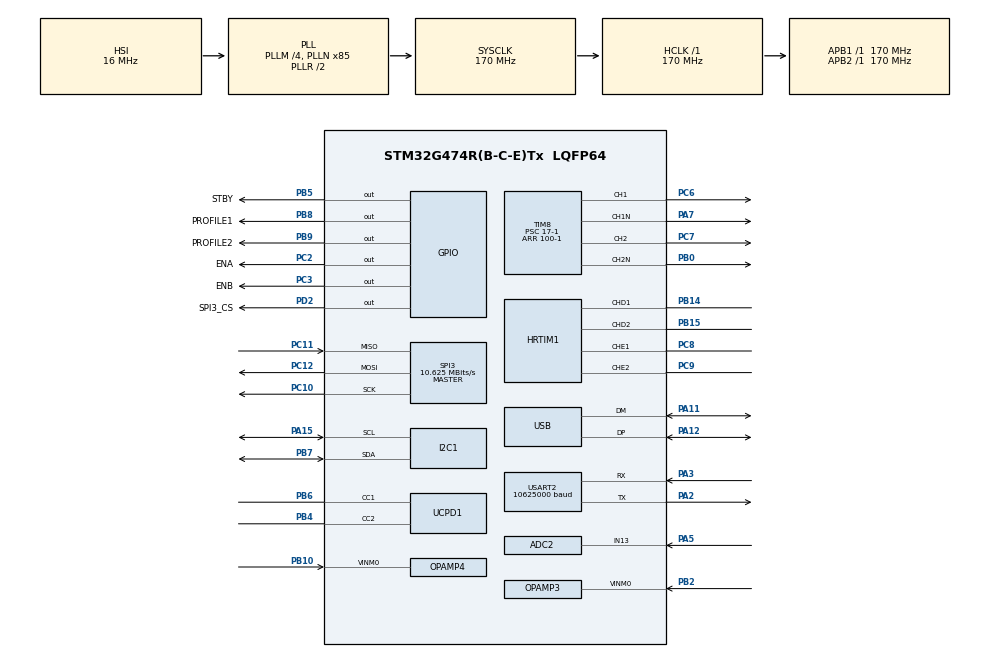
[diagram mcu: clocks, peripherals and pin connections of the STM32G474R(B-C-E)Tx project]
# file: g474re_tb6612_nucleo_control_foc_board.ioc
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ADC2.Channel-4\#ChannelRegularConversion=ADC_CHANNEL_13
ADC2.NbrOfConversionFlag=1
ADC2.OffsetNumber-4\#ChannelRegularConversion=ADC_OFFSET_NONE
ADC2.Rank-4\#ChannelRegularConversion=1
ADC2.SamplingTime-4\#ChannelRegularConversion=ADC_SAMPLETIME_2CYCLES_5
ADC3.Channel-2\#ChannelRegularConversion=ADC_CHANNEL_VOPAMP3_ADC3
ADC3.ExternalTrigConv=ADC_EXTERNALTRIG_T8_TRGO
ADC3.NbrOfConversionFlag=1
ADC3.OffsetNumber-2\#ChannelRegularConversion=ADC_OFFSET_NONE
ADC3.Rank-2\#ChannelRegularConversion=1
ADC3.SamplingTime-2\#ChannelRegularConversion=ADC_SAMPLETIME_2CYCLES_5
ADC3.master=1
ADC5.Channel-1\#ChannelRegularConversion=ADC_CHANNEL_VOPAMP4
ADC5.ContinuousConvMode=DISABLE
ADC5.ExternalTrigConv=ADC_EXTERNALTRIG_T8_TRGO
ADC5.NbrOfConversionFlag=1
ADC5.OffsetNumber-1\#ChannelRegularConversion=ADC_OFFSET_NONE
ADC5.Overrun=ADC_OVR_DATA_OVERWRITTEN
ADC5.Rank-1\#ChannelRegularConversion=1
ADC5.SamplingTime-1\#ChannelRegularConversion=ADC_SAMPLETIME_2CYCLES_5
DAC3.DAC_Channel-DAC_OUT2_Int=DAC_CHANNEL_2
DAC4.DAC_Channel-DAC_OUT2_Int=DAC_CHANNEL_2
Dma.Request0=UCPD1_RX
Dma.Request1=UCPD1_TX
Dma.Request2=SPI3_TX
Dma.Request3=SPI3_RX
Dma.Request4=USART2_TX
Dma.SPI3_RX.3.Direction=DMA_PERIPH_TO_MEMORY
Dma.SPI3_RX.3.EventEnable=DISABLE
Dma.SPI3_RX.3.Instance=DMA2_Channel2
Dma.SPI3_RX.3.MemDataAlignment=DMA_MDATAALIGN_BYTE
Dma.SPI3_RX.3.MemInc=DMA_MINC_ENABLE
Dma.SPI3_RX.3.Mode=DMA_NORMAL
Dma.SPI3_RX.3.PeriphDataAlignment=DMA_PDATAALIGN_BYTE
Dma.SPI3_RX.3.PeriphInc=DMA_PINC_DISABLE
Dma.SPI3_RX.3.Polarity=HAL_DMAMUX_REQ_GEN_RISING
Dma.SPI3_RX.3.Priority=DMA_PRIORITY_MEDIUM
Dma.SPI3_RX.3.RequestNumber=1
Dma.SPI3_RX.3.SignalID=NONE
Dma.SPI3_RX.3.SyncEnable=DISABLE
Dma.SPI3_RX.3.SyncPolarity=HAL_DMAMUX_SYNC_NO_EVENT
Dma.SPI3_RX.3.SyncRequestNumber=1
Dma.SPI3_RX.3.SyncSignalID=NONE
Dma.SPI3_TX.2.Direction=DMA_MEMORY_TO_PERIPH
Dma.SPI3_TX.2.EventEnable=DISABLE
Dma.SPI3_TX.2.Instance=DMA2_Channel1
Dma.SPI3_TX.2.MemDataAlignment=DMA_MDATAALIGN_BYTE
Dma.SPI3_TX.2.MemInc=DMA_MINC_ENABLE
Dma.SPI3_TX.2.Mode=DMA_NORMAL
Dma.SPI3_TX.2.PeriphDataAlignment=DMA_PDATAALIGN_BYTE
Dma.SPI3_TX.2.PeriphInc=DMA_PINC_DISABLE
Dma.SPI3_TX.2.Polarity=HAL_DMAMUX_REQ_GEN_RISING
Dma.SPI3_TX.2.Priority=DMA_PRIORITY_MEDIUM
Dma.SPI3_TX.2.RequestNumber=1
Dma.SPI3_TX.2.SignalID=NONE
Dma.SPI3_TX.2.SyncEnable=DISABLE
Dma.SPI3_TX.2.SyncPolarity=HAL_DMAMUX_SYNC_NO_EVENT
Dma.SPI3_TX.2.SyncRequestNumber=1
Dma.SPI3_TX.2.SyncSignalID=NONE
Dma.UCPD1_RX.0.Direction=DMA_PERIPH_TO_MEMORY
Dma.UCPD1_RX.0.EventEnable=DISABLE
Dma.UCPD1_RX.0.Instance=DMA1_Channel3
Dma.UCPD1_RX.0.MemDataAlignment=DMA_MDATAALIGN_BYTE
Dma.UCPD1_RX.0.MemInc=DMA_MINC_ENABLE
Dma.UCPD1_RX.0.Mode=DMA_NORMAL
Dma.UCPD1_RX.0.PeriphDataAlignment=DMA_PDATAALIGN_BYTE
Dma.UCPD1_RX.0.PeriphInc=DMA_PINC_DISABLE
Dma.UCPD1_RX.0.Polarity=HAL_DMAMUX_REQ_GEN_RISING
Dma.UCPD1_RX.0.Priority=DMA_PRIORITY_LOW
Dma.UCPD1_RX.0.RequestNumber=1
Dma.UCPD1_RX.0.SignalID=NONE
Dma.UCPD1_RX.0.SyncEnable=DISABLE
Dma.UCPD1_RX.0.SyncPolarity=HAL_DMAMUX_SYNC_NO_EVENT
Dma.UCPD1_RX.0.SyncRequestNumber=1
Dma.UCPD1_RX.0.SyncSignalID=NONE
Dma.UCPD1_TX.1.Direction=DMA_MEMORY_TO_PERIPH
Dma.UCPD1_TX.1.EventEnable=DISABLE
Dma.UCPD1_TX.1.Instance=DMA1_Channel2
Dma.UCPD1_TX.1.MemDataAlignment=DMA_MDATAALIGN_BYTE
Dma.UCPD1_TX.1.MemInc=DMA_MINC_ENABLE
Dma.UCPD1_TX.1.Mode=DMA_NORMAL
Dma.UCPD1_TX.1.PeriphDataAlignment=DMA_PDATAALIGN_BYTE
Dma.UCPD1_TX.1.PeriphInc=DMA_PINC_DISABLE
Dma.UCPD1_TX.1.Polarity=HAL_DMAMUX_REQ_GEN_RISING
Dma.UCPD1_TX.1.Priority=DMA_PRIORITY_LOW
Dma.UCPD1_TX.1.RequestNumber=1
Dma.UCPD1_TX.1.SignalID=NONE
Dma.UCPD1_TX.1.SyncEnable=DISABLE
Dma.UCPD1_TX.1.SyncPolarity=HAL_DMAMUX_SYNC_NO_EVENT
Dma.UCPD1_TX.1.SyncRequestNumber=1
Dma.UCPD1_TX.1.SyncSignalID=NONE
Dma.USART2_TX.4.Direction=DMA_MEMORY_TO_PERIPH
Dma.USART2_TX.4.EventEnable=DISABLE
Dma.USART2_TX.4.Instance=DMA1_Channel1
Dma.USART2_TX.4.MemDataAlignment=DMA_MDATAALIGN_BYTE
Dma.USART2_TX.4.MemInc=DMA_MINC_ENABLE
Dma.USART2_TX.4.Mode=DMA_NORMAL
Dma.USART2_TX.4.PeriphDataAlignment=DMA_PDATAALIGN_BYTE
Dma.USART2_TX.4.PeriphInc=DMA_PINC_DISABLE
Dma.USART2_TX.4.Polarity=HAL_DMAMUX_REQ_GEN_RISING
Dma.USART2_TX.4.Priority=DMA_PRIORITY_LOW
Dma.USART2_TX.4.RequestNumber=1
Dma.USART2_TX.4.SignalID=NONE
Dma.USART2_TX.4.SyncEnable=DISABLE
Dma.USART2_TX.4.SyncPolarity=HAL_DMAMUX_SYNC_NO_EVENT
Dma.USART2_TX.4.SyncRequestNumber=1
Dma.USART2_TX.4.SyncSignalID=NONE
FREERTOS.Tasks01=hardwareInitTas,40,256,doHardwareInitTask,Default,NULL,Static,hardwareInitTasBuffer,hardwareInitTasControlBlock;samplingTask,24,128,startDoSamplingTask,Default,NULL,Static,samplingTaskBuffer,samplingTaskControlBlock
FREERTOS.configENABLE_FPU=1
FREERTOS.configGENERATE_RUN_TIME_STATS=1
FREERTOS.configLIBRARY_MAX_SYSCALL_INTERRUPT_PRIORITY=3
FREERTOS.configRECORD_STACK_HIGH_ADDRESS=1
FREERTOS.configTOTAL_HEAP_SIZE=8192
FREERTOS.configUSE_TICKLESS_IDLE=0
I2C1.Timing=0x40B285C2
Mcu.Family=STM32G4
Mcu.Name=STM32G474R(B-C-E)Tx
Mcu.Package=LQFP64
NUCLEO-G474RE.BUTTON=1
NUCLEO-G474RE.LD2=false
NUCLEO-G474RE.VCP=false
NVIC.ADC5_IRQn=true\:1\:0\:true\:false\:true\:false\:true\:true\:true
NVIC.DMA1_Channel1_IRQn=true\:3\:0\:false\:false\:true\:true\:false\:true\:true
NVIC.DMA1_Channel2_IRQn=true\:3\:0\:false\:false\:true\:true\:false\:true\:true
NVIC.DMA1_Channel3_IRQn=true\:3\:0\:false\:false\:true\:false\:false\:true\:true
NVIC.DMA2_Channel1_IRQn=true\:0\:0\:false\:false\:true\:false\:false\:true\:true
NVIC.DMA2_Channel2_IRQn=true\:0\:0\:false\:false\:true\:false\:false\:true\:true
NVIC.EXTI15_10_IRQn=true\:3\:0\:false\:false\:true\:true\:false\:true\:true
NVIC.PriorityGroup=NVIC_PRIORITYGROUP_4
NVIC.TIM7_DAC_IRQn=true\:3\:0\:false\:false\:true\:false\:true\:true\:true
NVIC.TimeBase=TIM7_DAC_IRQn
NVIC.TimeBaseIP=TIM7
NVIC.UCPD1_IRQn=true\:3\:0\:false\:false\:true\:true\:true\:false\:true
NVIC.USART2_IRQn=true\:3\:0\:false\:false\:true\:true\:true\:true\:true
OPAMP3.PgaGain=OPAMP_PGA_GAIN_8_OR_MINUS_7
OPAMP4.PgaGain=OPAMP_PGA_GAIN_8_OR_MINUS_7
PA10.Signal=UCPD1_DBCC2
PA11.Mode=Device
PA11.Signal=USB_DM
PA12.Mode=Device
PA12.Signal=USB_DP
PA13.GPIO_Label=T_SWDIO
PA13.Mode=Trace_Asynchronous_SW
PA13.Signal=SYS_JTMS-SWDIO
PA14.GPIO_Label=T_SWCLK
PA14.Mode=Trace_Asynchronous_SW
PA14.Signal=SYS_JTCK-SWCLK
PA15.Mode=I2C
PA15.Signal=I2C1_SCL
PA2.Mode=Asynchronous
PA2.Signal=USART2_TX
PA3.Mode=Asynchronous
PA3.Signal=USART2_RX
PA5.Mode=IN13-Single-Ended
PA5.Signal=ADC2_IN13
PA7.Mode=PWM Generation1 CH1 CH1N
PA7.Signal=TIM8_CH1N
PA9.Signal=UCPD1_DBCC1
PB0.Mode=PWM Generation2 CH2 CH2N
PB0.Signal=TIM8_CH2N
PB10.Mode=PGA_Connected-INVERTINGINPUT_IO0_BIAS-DAC_OUT1-INP_Output_internal
PB10.Signal=OPAMP4_VINM0
PB14.Mode=Output_TD1TD2
PB14.Signal=HRTIM1_CHD1
PB15.Mode=Output_TD1TD2
PB15.Signal=HRTIM1_CHD2
PB2.Mode=PGA_Connected-INVERTINGINPUT_IO0_BIAS-DAC_OUT2-INP_Output_internal
PB2.Signal=OPAMP3_VINM0
PB3.GPIO_Label=T_SWO
PB3.Mode=Trace_Asynchronous_SW
PB3.Signal=SYS_JTDO-SWO
PB4.Mode=Sink_AllSignals
PB4.Signal=UCPD1_CC2
PB5.GPIO_Label=STBY
PB5.Signal=GPIO_Output
PB6.Mode=Sink_AllSignals
PB6.Signal=UCPD1_CC1
PB7.Mode=I2C
PB7.Signal=I2C1_SDA
PB8-BOOT0.GPIO_Label=PROFILE1
PB8-BOOT0.Signal=GPIO_Output
PB9.GPIO_Label=PROFILE2
PB9.GPIO_PuPd=GPIO_PULLDOWN
PB9.Signal=GPIO_Output
PC1.Signal=COMP3_INP
PC10.Mode=Full_Duplex_Master
PC10.Signal=SPI3_SCK
PC11.Mode=Full_Duplex_Master
PC11.Signal=SPI3_MISO
PC12.Mode=Full_Duplex_Master
PC12.Signal=SPI3_MOSI
PC2.GPIO_Label=ENA
PC2.Signal=GPIO_Output
PC3.GPIO_Label=ENB
PC3.Signal=GPIO_Output
PC6.Signal=S_TIM8_CH1
PC7.Signal=S_TIM8_CH2
PC8.Mode=Output_TE1TE2
PC8.Signal=HRTIM1_CHE1
PC9.Mode=Output_TE1TE2
PC9.Signal=HRTIM1_CHE2
PD2.GPIO_Label=SPI3_CS
PD2.Signal=GPIO_Output
PF0-OSC_IN.GPIO_Label=RCC_OSC_IN
PF0-OSC_IN.Mode=HSE-External-Oscillator
PF0-OSC_IN.Signal=RCC_OSC_IN
PF1-OSC_OUT.GPIO_Label=RCC_OSC_OUT
PF1-OSC_OUT.Mode=HSE-External-Oscillator
PF1-OSC_OUT.Signal=RCC_OSC_OUT
ProjectManager.HeapSize=0x1000
ProjectManager.StackSize=0x1000
ProjectManager.TargetToolchain=CMake
RCC.ADC12Freq_Value=170000000
RCC.ADC345Freq_Value=170000000
RCC.AHBFreq_Value=170000000
RCC.APB1Freq_Value=170000000
RCC.APB1TimFreq_Value=170000000
RCC.APB2Freq_Value=170000000
RCC.APB2TimFreq_Value=170000000
RCC.CK48CLockSelection=RCC_USBCLKSOURCE_HSI48
RCC.CortexFreq_Value=170000000
RCC.EXTERNAL_CLOCK_VALUE=12288000
RCC.HCLKFreq_Value=170000000
RCC.HSE_VALUE=24000000
RCC.HSI48_VALUE=48000000
RCC.HSI_VALUE=16000000
RCC.LSE_VALUE=32768
RCC.PLLM=RCC_PLLM_DIV4
RCC.PLLN=85
RCC.PLLQ=RCC_PLLQ_DIV6
RCC.RTCClockSelection=RCC_RTCCLKSOURCE_LSE
RCC.SYSCLKFreq_VALUE=170000000
RCC.SYSCLKSource=RCC_SYSCLKSOURCE_PLLCLK
RCC.USBFreq_Value=48000000
RCC.VCOOutputFreq_Value=340000000
SH.S_TIM8_CH1.0=TIM8_CH1,PWM Generation1 CH1 CH1N
SH.S_TIM8_CH2.0=TIM8_CH2,PWM Generation2 CH2 CH2N
SPI3.BaudRatePrescaler=SPI_BAUDRATEPRESCALER_16
SPI3.CLKPhase=SPI_PHASE_2EDGE
SPI3.CLKPolarity=SPI_POLARITY_HIGH
SPI3.CalculateBaudRate=10.625 MBits/s
SPI3.DataSize=SPI_DATASIZE_8BIT
SPI3.Direction=SPI_DIRECTION_2LINES
SPI3.Mode=SPI_MODE_MASTER
SPI3.VirtualType=VM_MASTER
TIM8.AutoReloadPreload=TIM_AUTORELOAD_PRELOAD_ENABLE
TIM8.Channel-Output\ Compare3\ No\ Output=TIM_CHANNEL_3
TIM8.Channel-Output\ Compare4\ No\ Output=TIM_CHANNEL_4
TIM8.Channel-PWM\ Generation1\ CH1\ CH1N=TIM_CHANNEL_1
TIM8.Channel-PWM\ Generation2\ CH2\ CH2N=TIM_CHANNEL_2
TIM8.CounterMode=TIM_COUNTERMODE_CENTERALIGNED1
TIM8.DeadTime=10
TIM8.OCMode_3=TIM_OCMODE_PULSE_ON_COMPARE
TIM8.OCMode_4=TIM_OCMODE_PULSE_ON_COMPARE
TIM8.PeriodNoDither=100-1
TIM8.Prescaler=17-1
TIM8.PulseNoDither_1=50
TIM8.PulseNoDither_2=50
TIM8.PulseNoDither_3=0
TIM8.PulseNoDither_4=100-1
TIM8.PulseWidth=10
TIM8.TIM_MasterOutputTrigger=TIM_TRGO_OC3REF
TIM8.TIM_MasterOutputTrigger2=TIM_TRGO2_OC4REF
USART2.BaudRate=10625000
USART2.VirtualMode-Asynchronous=VM_ASYNC
USBPD.Is_Alert_Supported_P0=USBPD_TRUE
USBPD.Is_GetPPSStatus_Supported_P0=USBPD_TRUE
USBPD.Is_GetStatus_Supported_P0=USBPD_TRUE
USBPD.PE_CapscounterSupport_P0=USBPD_TRUE
USBPD.USBPD_PORT0_PDO_SNK_FIXED_SET_OP_CURRENT_0=3000
USBPD.USBPD_PORT0_PDO_SNK_FIXED_SET_VOLTAGE_0=9000
VP_ADC3_OPAMP_INTERNAL3.Mode=IN-OPAMP3
VP_ADC5_OPAMP_INTERNAL4.Mode=IN-OPAMP4
VP_CORDIC_VS_CORDIC.Mode=CORDIC_Activate
VP_DAC3_VS_DACI1.Mode=DAC_OUT1_Int
VP_DAC3_VS_DACI2.Mode=DAC_OUT2_Int
VP_DAC4_VS_DACI1.Mode=DAC_OUT1_Int
VP_DAC4_VS_DACI2.Mode=DAC_OUT2_Int
VP_FREERTOS_VS_CMSIS_V2.Mode=CMSIS_V2
VP_NUCLEO-G474RE_VS_BSP_COMMON.Mode=COMMON
VP_SYS_VS_DBSignals.Mode=DisableDeadBatterySignals
VP_SYS_VS_tim7.Mode=TIM7
VP_TIM6_VS_ClockSourceINT.Mode=Enable_Timer
VP_TIM8_VS_ClockSourceINT.Mode=Internal
VP_TIM8_VS_no_output3.Mode=Output Compare3 No Output
VP_TIM8_VS_no_output4.Mode=Output Compare4 No Output
VP_USBPD_VS_PD3FULL.Mode=PD3_Full_Stack
VP_USBPD_VS_USBPD1.Mode=USBPD_P0
VP_USBPD_VS_usbpd_tim5.Mode=TIM5
board=NUCLEO-G474RE

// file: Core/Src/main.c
/* USER CODE BEGIN Header */
/**
 ******************************************************************************
 * @file           : main.c
 * @brief          : Main program body
 ******************************************************************************
 * @attention
 *
 * Copyright (c) 2026 STMicroelectronics.
 * All rights reserved.
 *
 * This software is licensed under terms that can be found in the LICENSE file
 * in the root directory of this software component.
 * If no LICENSE file comes with this software, it is provided AS-IS.
 *
 ******************************************************************************
 */
/* USER CODE END Header */
#include "main.h"
#include "cmsis_os.h"
#include "usbpd.h"

/* USER CODE BEGIN Includes */
#include "string.h"
#include "stdio.h"
#include "lib_usbpd.h"
#include "tasks.h"
/* USER CODE END Includes */

typedef StaticTask_t osStaticThreadDef_t;

ADC_HandleTypeDef hadc2;
ADC_HandleTypeDef hadc3;
ADC_HandleTypeDef hadc5;

CORDIC_HandleTypeDef hcordic;

DAC_HandleTypeDef hdac3;
DAC_HandleTypeDef hdac4;

HRTIM_HandleTypeDef hhrtim1;

I2C_HandleTypeDef hi2c1;

OPAMP_HandleTypeDef hopamp3;
OPAMP_HandleTypeDef hopamp4;

SPI_HandleTypeDef hspi3;
DMA_HandleTypeDef hdma_spi3_tx;
DMA_HandleTypeDef hdma_spi3_rx;

TIM_HandleTypeDef htim6;
TIM_HandleTypeDef htim8;

UART_HandleTypeDef huart2;
DMA_HandleTypeDef hdma_usart2_tx;

PCD_HandleTypeDef hpcd_USB_FS;

/* Definitions for hardwareInitTas */
osThreadId_t hardwareInitTasHandle;
uint32_t hardwareInitTasBuffer[256];
osStaticThreadDef_t hardwareInitTasControlBlock;
const osThreadAttr_t hardwareInitTas_attributes = {
    .name = "hardwareInitTas",
    .stack_mem = &hardwareInitTasBuffer[0],
    .stack_size = sizeof(hardwareInitTasBuffer),
    .cb_mem = &hardwareInitTasControlBlock,
    .cb_size = sizeof(hardwareInitTasControlBlock),
    .priority = (osPriority_t)osPriorityHigh,
};
/* Definitions for samplingTask */
osThreadId_t samplingTaskHandle;
uint32_t samplingTaskBuffer[128];
osStaticThreadDef_t samplingTaskControlBlock;
const osThreadAttr_t samplingTask_attributes = {
    .name = "samplingTask",
    .stack_mem = &samplingTaskBuffer[0],
    .stack_size = sizeof(samplingTaskBuffer),
    .cb_mem = &samplingTaskControlBlock,
    .cb_size = sizeof(samplingTaskControlBlock),
    .priority = (osPriority_t)osPriorityNormal,
};

void SystemClock_Config(void);
static void MX_GPIO_Init(void);
static void MX_DMA_Init(void);
static void MX_TIM8_Init(void);
static void MX_DAC3_Init(void);
static void MX_HRTIM1_Init(void);
static void MX_I2C1_Init(void);
static void MX_SPI3_Init(void);
static void MX_UCPD1_Init(void);
static void MX_USB_PCD_Init(void);
static void MX_ADC2_Init(void);
static void MX_USART2_UART_Init(void);
static void MX_TIM6_Init(void);
static void MX_CORDIC_Init(void);
static void MX_ADC5_Init(void);
static void MX_DAC4_Init(void);
static void MX_OPAMP4_Init(void);
static void MX_ADC3_Init(void);
static void MX_OPAMP3_Init(void);
void doHardwareInitTask(void *argument);
void startDoSamplingTask(void *argument);

int main(void)
{

  /* MCU Configuration--------------------------------------------------------*/

  /* Reset of all peripherals, Initializes the Flash interface and the Systick. */
  HAL_Init();

  /* Configure the system clock */
  SystemClock_Config();

  /* Initialize all configured peripherals */
  MX_GPIO_Init();
  MX_DMA_Init();
  MX_TIM8_Init();
  MX_DAC3_Init();
  MX_HRTIM1_Init();
  MX_I2C1_Init();
  MX_SPI3_Init();
  MX_UCPD1_Init();
  MX_USB_PCD_Init();
  MX_ADC2_Init();
  MX_USART2_UART_Init();
  MX_TIM6_Init();
  MX_CORDIC_Init();
  MX_ADC5_Init();
  MX_DAC4_Init();
  MX_OPAMP4_Init();
  MX_ADC3_Init();
  MX_OPAMP3_Init();
  /* USER CODE BEGIN 2 */
  // HAL_PWREx_DisableUCPDDeadBattery();
  /* USER CODE BEGIN 2 */
  uint32_t counter = 0;

  /* Enable stimulus port 1 */
  CoreDebug->DEMCR |= CoreDebug_DEMCR_TRCENA_Msk; // enable trace
  ITM->LAR = 0xC5ACCE55;                          // unlock ITM registers
  ITM->TCR = ITM_TCR_ITMENA_Msk | ITM_TCR_SYNCENA_Msk | (1 << ITM_TCR_TraceBusID_Pos);
  ITM->TER = 0xF;

  // while (1)
  // {
  //   /* Check ITM enabled and port 1 enabled */
  //   if ((ITM->TCR & ITM_TCR_ITMENA_Msk) &&
  //       (ITM->TER & (1UL << 1)))
  //   {
  //     /* Wait until port 1 FIFO is ready (u32 != 0 means ready) */
  //     while (ITM->PORT[1U].u32 == 0UL)
  //     {
  //       __NOP();
  //     }

  //     ITM->PORT[1U].u32 = counter++;
  //   }
  // }
  /* USER CODE END 2 */

  /* Init scheduler */
  osKernelInitialize();
  /* USBPD initialisation ---------------------------------*/
  MX_USBPD_Init();

  /* Create the thread(s) */
  /* creation of hardwareInitTas */
  hardwareInitTasHandle = osThreadNew(doHardwareInitTask, NULL, &hardwareInitTas_attributes);

  /* creation of samplingTask */
  samplingTaskHandle = osThreadNew(startDoSamplingTask, NULL, &samplingTask_attributes);

  /* USER CODE BEGIN RTOS_EVENTS */
  /* add events, ... */

  SINK_Selection_t req = {
      .mode = SINK_MODE_FIXED,
      .voltage_mV = 9000,
      .current_mA = 3000,
  };
  SINK_Init(req);
  // SINK_Init(SINK_MODE_FIXED, 9000, 5000);
  /* USER CODE END RTOS_EVENTS */

  /* Initialize USER push-button, will be used to trigger an interrupt each time it's pressed.*/
  BSP_PB_Init(BUTTON_USER, BUTTON_MODE_EXTI);

  /* Start scheduler */
  osKernelStart();

  /* We should never get here as control is now taken by the scheduler */

  /* Infinite loop */
  while (1)
  {

  }
}

void SystemClock_Config(void)
{
  RCC_OscInitTypeDef RCC_OscInitStruct = {0};
  RCC_ClkInitTypeDef RCC_ClkInitStruct = {0};

  /** Configure the main internal regulator output voltage
   */
  HAL_PWREx_ControlVoltageScaling(PWR_REGULATOR_VOLTAGE_SCALE1_BOOST);

  /** Initializes the RCC Oscillators according to the specified parameters
   * in the RCC_OscInitTypeDef structure.
   */
  RCC_OscInitStruct.OscillatorType = RCC_OSCILLATORTYPE_HSI | RCC_OSCILLATORTYPE_HSI48;
  RCC_OscInitStruct.HSIState = RCC_HSI_ON;
  RCC_OscInitStruct.HSICalibrationValue = RCC_HSICALIBRATION_DEFAULT;
  RCC_OscInitStruct.HSI48State = RCC_HSI48_ON;
  RCC_OscInitStruct.PLL.PLLState = RCC_PLL_ON;
  RCC_OscInitStruct.PLL.PLLSource = RCC_PLLSOURCE_HSI;
  RCC_OscInitStruct.PLL.PLLM = RCC_PLLM_DIV4;
  RCC_OscInitStruct.PLL.PLLN = 85;
  RCC_OscInitStruct.PLL.PLLP = RCC_PLLP_DIV2;
  RCC_OscInitStruct.PLL.PLLQ = RCC_PLLQ_DIV6;
  RCC_OscInitStruct.PLL.PLLR = RCC_PLLR_DIV2;
  if (HAL_RCC_OscConfig(&RCC_OscInitStruct) != HAL_OK)
  {
    Error_Handler();
  }

  /** Initializes the CPU, AHB and APB buses clocks
   */
  RCC_ClkInitStruct.ClockType = RCC_CLOCKTYPE_HCLK | RCC_CLOCKTYPE_SYSCLK | RCC_CLOCKTYPE_PCLK1 | RCC_CLOCKTYPE_PCLK2;
  RCC_ClkInitStruct.SYSCLKSource = RCC_SYSCLKSOURCE_PLLCLK;
  RCC_ClkInitStruct.AHBCLKDivider = RCC_SYSCLK_DIV1;
  RCC_ClkInitStruct.APB1CLKDivider = RCC_HCLK_DIV1;
  RCC_ClkInitStruct.APB2CLKDivider = RCC_HCLK_DIV1;

  if (HAL_RCC_ClockConfig(&RCC_ClkInitStruct, FLASH_LATENCY_4) != HAL_OK)
  {
    Error_Handler();
  }
}

static void MX_ADC2_Init(void)
{

  ADC_ChannelConfTypeDef sConfig = {0};

  /** Common config
   */
  hadc2.Instance = ADC2;
  hadc2.Init.ClockPrescaler = ADC_CLOCK_SYNC_PCLK_DIV4;
  hadc2.Init.Resolution = ADC_RESOLUTION_12B;
  hadc2.Init.DataAlign = ADC_DATAALIGN_RIGHT;
  hadc2.Init.GainCompensation = 0;
  hadc2.Init.ScanConvMode = ADC_SCAN_DISABLE;
  hadc2.Init.EOCSelection = ADC_EOC_SINGLE_CONV;
  hadc2.Init.LowPowerAutoWait = DISABLE;
  hadc2.Init.ContinuousConvMode = DISABLE;
  hadc2.Init.NbrOfConversion = 1;
  hadc2.Init.DiscontinuousConvMode = DISABLE;
  hadc2.Init.ExternalTrigConv = ADC_SOFTWARE_START;
  hadc2.Init.ExternalTrigConvEdge = ADC_EXTERNALTRIGCONVEDGE_NONE;
  hadc2.Init.DMAContinuousRequests = DISABLE;
  hadc2.Init.Overrun = ADC_OVR_DATA_PRESERVED;
  hadc2.Init.OversamplingMode = DISABLE;
  if (HAL_ADC_Init(&hadc2) != HAL_OK)
  {
    Error_Handler();
  }

  /** Configure Regular Channel
   */
  sConfig.Channel = ADC_CHANNEL_13;
  sConfig.Rank = ADC_REGULAR_RANK_1;
  sConfig.SamplingTime = ADC_SAMPLETIME_2CYCLES_5;
  sConfig.SingleDiff = ADC_SINGLE_ENDED;
  sConfig.OffsetNumber = ADC_OFFSET_NONE;
  sConfig.Offset = 0;
  if (HAL_ADC_ConfigChannel(&hadc2, &sConfig) != HAL_OK)
  {
    Error_Handler();
  }
}

static void MX_ADC3_Init(void)
{

  ADC_MultiModeTypeDef multimode = {0};
  ADC_ChannelConfTypeDef sConfig = {0};

  /** Common config
   */
  hadc3.Instance = ADC3;
  hadc3.Init.ClockPrescaler = ADC_CLOCK_SYNC_PCLK_DIV4;
  hadc3.Init.Resolution = ADC_RESOLUTION_12B;
  hadc3.Init.DataAlign = ADC_DATAALIGN_RIGHT;
  hadc3.Init.GainCompensation = 0;
  hadc3.Init.ScanConvMode = ADC_SCAN_DISABLE;
  hadc3.Init.EOCSelection = ADC_EOC_SINGLE_CONV;
  hadc3.Init.LowPowerAutoWait = DISABLE;
  hadc3.Init.ContinuousConvMode = DISABLE;
  hadc3.Init.NbrOfConversion = 1;
  hadc3.Init.DiscontinuousConvMode = DISABLE;
  hadc3.Init.ExternalTrigConv = ADC_EXTERNALTRIG_T8_TRGO;
  hadc3.Init.ExternalTrigConvEdge = ADC_EXTERNALTRIGCONVEDGE_RISING;
  hadc3.Init.DMAContinuousRequests = DISABLE;
  hadc3.Init.Overrun = ADC_OVR_DATA_PRESERVED;
  hadc3.Init.OversamplingMode = DISABLE;
  if (HAL_ADC_Init(&hadc3) != HAL_OK)
  {
    Error_Handler();
  }

  /** Configure the ADC multi-mode
   */
  multimode.Mode = ADC_MODE_INDEPENDENT;
  if (HAL_ADCEx_MultiModeConfigChannel(&hadc3, &multimode) != HAL_OK)
  {
    Error_Handler();
  }

  /** Configure Regular Channel
   */
  sConfig.Channel = ADC_CHANNEL_VOPAMP3_ADC3;
  sConfig.Rank = ADC_REGULAR_RANK_1;
  sConfig.SamplingTime = ADC_SAMPLETIME_2CYCLES_5;
  sConfig.SingleDiff = ADC_SINGLE_ENDED;
  sConfig.OffsetNumber = ADC_OFFSET_NONE;
  sConfig.Offset = 0;
  if (HAL_ADC_ConfigChannel(&hadc3, &sConfig) != HAL_OK)
  {
    Error_Handler();
  }
}

static void MX_ADC5_Init(void)
{

  ADC_ChannelConfTypeDef sConfig = {0};

  /** Common config
   */
  hadc5.Instance = ADC5;
  hadc5.Init.ClockPrescaler = ADC_CLOCK_SYNC_PCLK_DIV4;
  hadc5.Init.Resolution = ADC_RESOLUTION_12B;
  hadc5.Init.DataAlign = ADC_DATAALIGN_RIGHT;
  hadc5.Init.GainCompensation = 0;
  hadc5.Init.ScanConvMode = ADC_SCAN_DISABLE;
  hadc5.Init.EOCSelection = ADC_EOC_SINGLE_CONV;
  hadc5.Init.LowPowerAutoWait = DISABLE;
  hadc5.Init.ContinuousConvMode = DISABLE;
  hadc5.Init.NbrOfConversion = 1;
  hadc5.Init.DiscontinuousConvMode = DISABLE;
  hadc5.Init.ExternalTrigConv = ADC_EXTERNALTRIG_T8_TRGO;
  hadc5.Init.ExternalTrigConvEdge = ADC_EXTERNALTRIGCONVEDGE_RISING;
  hadc5.Init.DMAContinuousRequests = DISABLE;
  hadc5.Init.Overrun = ADC_OVR_DATA_OVERWRITTEN;
  hadc5.Init.OversamplingMode = DISABLE;
  if (HAL_ADC_Init(&hadc5) != HAL_OK)
  {
    Error_Handler();
  }

  /** Configure Regular Channel
   */
  sConfig.Channel = ADC_CHANNEL_VOPAMP4;
  sConfig.Rank = ADC_REGULAR_RANK_1;
  sConfig.SamplingTime = ADC_SAMPLETIME_2CYCLES_5;
  sConfig.SingleDiff = ADC_SINGLE_ENDED;
  sConfig.OffsetNumber = ADC_OFFSET_NONE;
  sConfig.Offset = 0;
  if (HAL_ADC_ConfigChannel(&hadc5, &sConfig) != HAL_OK)
  {
    Error_Handler();
  }
}

static void MX_CORDIC_Init(void)
{

  hcordic.Instance = CORDIC;
  if (HAL_CORDIC_Init(&hcordic) != HAL_OK)
  {
    Error_Handler();
  }
}

static void MX_DAC3_Init(void)
{

  DAC_ChannelConfTypeDef sConfig = {0};

  /** DAC Initialization
   */
  hdac3.Instance = DAC3;
  if (HAL_DAC_Init(&hdac3) != HAL_OK)
  {
    Error_Handler();
  }

  /** DAC channel OUT1 config
   */
  sConfig.DAC_HighFrequency = DAC_HIGH_FREQUENCY_INTERFACE_MODE_AUTOMATIC;
  sConfig.DAC_DMADoubleDataMode = DISABLE;
  sConfig.DAC_SignedFormat = DISABLE;
  sConfig.DAC_SampleAndHold = DAC_SAMPLEANDHOLD_DISABLE;
  sConfig.DAC_Trigger = DAC_TRIGGER_NONE;
  sConfig.DAC_Trigger2 = DAC_TRIGGER_NONE;
  sConfig.DAC_OutputBuffer = DAC_OUTPUTBUFFER_DISABLE;
  sConfig.DAC_ConnectOnChipPeripheral = DAC_CHIPCONNECT_INTERNAL;
  sConfig.DAC_UserTrimming = DAC_TRIMMING_FACTORY;
  if (HAL_DAC_ConfigChannel(&hdac3, &sConfig, DAC_CHANNEL_1) != HAL_OK)
  {
    Error_Handler();
  }

  /** DAC channel OUT2 config
   */
  if (HAL_DAC_ConfigChannel(&hdac3, &sConfig, DAC_CHANNEL_2) != HAL_OK)
  {
    Error_Handler();
  }
}

static void MX_DAC4_Init(void)
{

  DAC_ChannelConfTypeDef sConfig = {0};

  /** DAC Initialization
   */
  hdac4.Instance = DAC4;
  if (HAL_DAC_Init(&hdac4) != HAL_OK)
  {
    Error_Handler();
  }

  /** DAC channel OUT1 config
   */
  sConfig.DAC_HighFrequency = DAC_HIGH_FREQUENCY_INTERFACE_MODE_AUTOMATIC;
  sConfig.DAC_DMADoubleDataMode = DISABLE;
  sConfig.DAC_SignedFormat = DISABLE;
  sConfig.DAC_SampleAndHold = DAC_SAMPLEANDHOLD_DISABLE;
  sConfig.DAC_Trigger = DAC_TRIGGER_NONE;
  sConfig.DAC_Trigger2 = DAC_TRIGGER_NONE;
  sConfig.DAC_OutputBuffer = DAC_OUTPUTBUFFER_DISABLE;
  sConfig.DAC_ConnectOnChipPeripheral = DAC_CHIPCONNECT_INTERNAL;
  sConfig.DAC_UserTrimming = DAC_TRIMMING_FACTORY;
  if (HAL_DAC_ConfigChannel(&hdac4, &sConfig, DAC_CHANNEL_1) != HAL_OK)
  {
    Error_Handler();
  }

  /** DAC channel OUT2 config
   */
  if (HAL_DAC_ConfigChannel(&hdac4, &sConfig, DAC_CHANNEL_2) != HAL_OK)
  {
    Error_Handler();
  }
}

static void MX_HRTIM1_Init(void)
{

  HRTIM_TimeBaseCfgTypeDef pTimeBaseCfg = {0};
  HRTIM_TimerCtlTypeDef pTimerCtl = {0};
  HRTIM_TimerCfgTypeDef pTimerCfg = {0};
  HRTIM_OutputCfgTypeDef pOutputCfg = {0};

  hhrtim1.Instance = HRTIM1;
  hhrtim1.Init.HRTIMInterruptResquests = HRTIM_IT_NONE;
  hhrtim1.Init.SyncOptions = HRTIM_SYNCOPTION_NONE;
  if (HAL_HRTIM_Init(&hhrtim1) != HAL_OK)
  {
    Error_Handler();
  }
  if (HAL_HRTIM_DLLCalibrationStart(&hhrtim1, HRTIM_CALIBRATIONRATE_3) != HAL_OK)
  {
    Error_Handler();
  }
  if (HAL_HRTIM_PollForDLLCalibration(&hhrtim1, 10) != HAL_OK)
  {
    Error_Handler();
  }
  pTimeBaseCfg.Period = 0xFFDF;
  pTimeBaseCfg.RepetitionCounter = 0x00;
  pTimeBaseCfg.PrescalerRatio = HRTIM_PRESCALERRATIO_MUL32;
  pTimeBaseCfg.Mode = HRTIM_MODE_CONTINUOUS;
  if (HAL_HRTIM_TimeBaseConfig(&hhrtim1, HRTIM_TIMERINDEX_TIMER_D, &pTimeBaseCfg) != HAL_OK)
  {
    Error_Handler();
  }
  pTimerCtl.UpDownMode = HRTIM_TIMERUPDOWNMODE_UP;
  pTimerCtl.DualChannelDacEnable = HRTIM_TIMER_DCDE_DISABLED;
  if (HAL_HRTIM_WaveformTimerControl(&hhrtim1, HRTIM_TIMERINDEX_TIMER_D, &pTimerCtl) != HAL_OK)
  {
    Error_Handler();
  }
  pTimerCfg.InterruptRequests = HRTIM_TIM_IT_NONE;
  pTimerCfg.DMARequests = HRTIM_TIM_DMA_NONE;
  pTimerCfg.DMASrcAddress = 0x0000;
  pTimerCfg.DMADstAddress = 0x0000;
  pTimerCfg.DMASize = 0x1;
  pTimerCfg.HalfModeEnable = HRTIM_HALFMODE_DISABLED;
  pTimerCfg.InterleavedMode = HRTIM_INTERLEAVED_MODE_DISABLED;
  pTimerCfg.StartOnSync = HRTIM_SYNCSTART_DISABLED;
  pTimerCfg.ResetOnSync = HRTIM_SYNCRESET_DISABLED;
  pTimerCfg.DACSynchro = HRTIM_DACSYNC_NONE;
  pTimerCfg.PreloadEnable = HRTIM_PRELOAD_DISABLED;
  pTimerCfg.UpdateGating = HRTIM_UPDATEGATING_INDEPENDENT;
  pTimerCfg.BurstMode = HRTIM_TIMERBURSTMODE_MAINTAINCLOCK;
  pTimerCfg.RepetitionUpdate = HRTIM_UPDATEONREPETITION_DISABLED;
  pTimerCfg.PushPull = HRTIM_TIMPUSHPULLMODE_DISABLED;
  pTimerCfg.FaultEnable = HRTIM_TIMFAULTENABLE_NONE;
  pTimerCfg.FaultLock = HRTIM_TIMFAULTLOCK_READWRITE;
  pTimerCfg.DeadTimeInsertion = HRTIM_TIMDEADTIMEINSERTION_DISABLED;
  pTimerCfg.DelayedProtectionMode = HRTIM_TIMER_D_E_DELAYEDPROTECTION_DISABLED;
  pTimerCfg.UpdateTrigger = HRTIM_TIMUPDATETRIGGER_NONE;
  pTimerCfg.ResetTrigger = HRTIM_TIMRESETTRIGGER_NONE;
  pTimerCfg.ResetUpdate = HRTIM_TIMUPDATEONRESET_DISABLED;
  pTimerCfg.ReSyncUpdate = HRTIM_TIMERESYNC_UPDATE_UNCONDITIONAL;
  if (HAL_HRTIM_WaveformTimerConfig(&hhrtim1, HRTIM_TIMERINDEX_TIMER_D, &pTimerCfg) != HAL_OK)
  {
    Error_Handler();
  }
  if (HAL_HRTIM_WaveformTimerConfig(&hhrtim1, HRTIM_TIMERINDEX_TIMER_E, &pTimerCfg) != HAL_OK)
  {
    Error_Handler();
  }
  pOutputCfg.Polarity = HRTIM_OUTPUTPOLARITY_HIGH;
  pOutputCfg.SetSource = HRTIM_OUTPUTSET_NONE;
  pOutputCfg.ResetSource = HRTIM_OUTPUTRESET_NONE;
  pOutputCfg.IdleMode = HRTIM_OUTPUTIDLEMODE_NONE;
  pOutputCfg.IdleLevel = HRTIM_OUTPUTIDLELEVEL_INACTIVE;
  pOutputCfg.FaultLevel = HRTIM_OUTPUTFAULTLEVEL_NONE;
  pOutputCfg.ChopperModeEnable = HRTIM_OUTPUTCHOPPERMODE_DISABLED;
  pOutputCfg.BurstModeEntryDelayed = HRTIM_OUTPUTBURSTMODEENTRY_REGULAR;
  if (HAL_HRTIM_WaveformOutputConfig(&hhrtim1, HRTIM_TIMERINDEX_TIMER_D, HRTIM_OUTPUT_TD1, &pOutputCfg) != HAL_OK)
  {
    Error_Handler();
  }
  if (HAL_HRTIM_WaveformOutputConfig(&hhrtim1, HRTIM_TIMERINDEX_TIMER_E, HRTIM_OUTPUT_TE1, &pOutputCfg) != HAL_OK)
  {
    Error_Handler();
  }
  if (HAL_HRTIM_WaveformOutputConfig(&hhrtim1, HRTIM_TIMERINDEX_TIMER_D, HRTIM_OUTPUT_TD2, &pOutputCfg) != HAL_OK)
  {
    Error_Handler();
  }
  if (HAL_HRTIM_WaveformOutputConfig(&hhrtim1, HRTIM_TIMERINDEX_TIMER_E, HRTIM_OUTPUT_TE2, &pOutputCfg) != HAL_OK)
  {
    Error_Handler();
  }
  if (HAL_HRTIM_TimeBaseConfig(&hhrtim1, HRTIM_TIMERINDEX_TIMER_E, &pTimeBaseCfg) != HAL_OK)
  {
    Error_Handler();
  }
  if (HAL_HRTIM_WaveformTimerControl(&hhrtim1, HRTIM_TIMERINDEX_TIMER_E, &pTimerCtl) != HAL_OK)
  {
    Error_Handler();
  }
  HAL_HRTIM_MspPostInit(&hhrtim1);
}

static void MX_I2C1_Init(void)
{

  hi2c1.Instance = I2C1;
  hi2c1.Init.Timing = 0x40B285C2;
  hi2c1.Init.OwnAddress1 = 0;
  hi2c1.Init.AddressingMode = I2C_ADDRESSINGMODE_7BIT;
  hi2c1.Init.DualAddressMode = I2C_DUALADDRESS_DISABLE;
  hi2c1.Init.OwnAddress2 = 0;
  hi2c1.Init.OwnAddress2Masks = I2C_OA2_NOMASK;
  hi2c1.Init.GeneralCallMode = I2C_GENERALCALL_DISABLE;
  hi2c1.Init.NoStretchMode = I2C_NOSTRETCH_DISABLE;
  if (HAL_I2C_Init(&hi2c1) != HAL_OK)
  {
    Error_Handler();
  }

  /** Configure Analogue filter
   */
  if (HAL_I2CEx_ConfigAnalogFilter(&hi2c1, I2C_ANALOGFILTER_ENABLE) != HAL_OK)
  {
    Error_Handler();
  }

  /** Configure Digital filter
   */
  if (HAL_I2CEx_ConfigDigitalFilter(&hi2c1, 0) != HAL_OK)
  {
    Error_Handler();
  }
}

static void MX_OPAMP3_Init(void)
{

  hopamp3.Instance = OPAMP3;
  hopamp3.Init.PowerMode = OPAMP_POWERMODE_NORMALSPEED;
  hopamp3.Init.Mode = OPAMP_PGA_MODE;
  hopamp3.Init.NonInvertingInput = OPAMP_NONINVERTINGINPUT_DAC;
  hopamp3.Init.InternalOutput = ENABLE;
  hopamp3.Init.TimerControlledMuxmode = OPAMP_TIMERCONTROLLEDMUXMODE_DISABLE;
  hopamp3.Init.PgaConnect = OPAMP_PGA_CONNECT_INVERTINGINPUT_IO0_BIAS;
  hopamp3.Init.PgaGain = OPAMP_PGA_GAIN_8_OR_MINUS_7;
  hopamp3.Init.UserTrimming = OPAMP_TRIMMING_FACTORY;
  if (HAL_OPAMP_Init(&hopamp3) != HAL_OK)
  {
    Error_Handler();
  }
}

static void MX_OPAMP4_Init(void)
{

  hopamp4.Instance = OPAMP4;
  hopamp4.Init.PowerMode = OPAMP_POWERMODE_NORMALSPEED;
  hopamp4.Init.Mode = OPAMP_PGA_MODE;
  hopamp4.Init.NonInvertingInput = OPAMP_NONINVERTINGINPUT_DAC;
  hopamp4.Init.InternalOutput = ENABLE;
  hopamp4.Init.TimerControlledMuxmode = OPAMP_TIMERCONTROLLEDMUXMODE_DISABLE;
  hopamp4.Init.PgaConnect = OPAMP_PGA_CONNECT_INVERTINGINPUT_IO0_BIAS;
  hopamp4.Init.PgaGain = OPAMP_PGA_GAIN_8_OR_MINUS_7;
  hopamp4.Init.UserTrimming = OPAMP_TRIMMING_FACTORY;
  if (HAL_OPAMP_Init(&hopamp4) != HAL_OK)
  {
    Error_Handler();
  }
}

static void MX_SPI3_Init(void)
{

  /* SPI3 parameter configuration*/
  hspi3.Instance = SPI3;
  hspi3.Init.Mode = SPI_MODE_MASTER;
  hspi3.Init.Direction = SPI_DIRECTION_2LINES;
  hspi3.Init.DataSize = SPI_DATASIZE_8BIT;
  hspi3.Init.CLKPolarity = SPI_POLARITY_HIGH;
  hspi3.Init.CLKPhase = SPI_PHASE_2EDGE;
  hspi3.Init.NSS = SPI_NSS_SOFT;
  hspi3.Init.BaudRatePrescaler = SPI_BAUDRATEPRESCALER_16;
  hspi3.Init.FirstBit = SPI_FIRSTBIT_MSB;
  hspi3.Init.TIMode = SPI_TIMODE_DISABLE;
  hspi3.Init.CRCCalculation = SPI_CRCCALCULATION_DISABLE;
  hspi3.Init.CRCPolynomial = 7;
  hspi3.Init.CRCLength = SPI_CRC_LENGTH_DATASIZE;
  hspi3.Init.NSSPMode = SPI_NSS_PULSE_DISABLE;
  if (HAL_SPI_Init(&hspi3) != HAL_OK)
  {
    Error_Handler();
  }
}

static void MX_TIM6_Init(void)
{

  TIM_MasterConfigTypeDef sMasterConfig = {0};

  htim6.Instance = TIM6;
  htim6.Init.Prescaler = 0;
  htim6.Init.CounterMode = TIM_COUNTERMODE_UP;
  htim6.Init.Period = 65535;
  htim6.Init.AutoReloadPreload = TIM_AUTORELOAD_PRELOAD_DISABLE;
  if (HAL_TIM_Base_Init(&htim6) != HAL_OK)
  {
    Error_Handler();
  }
  sMasterConfig.MasterOutputTrigger = TIM_TRGO_RESET;
  sMasterConfig.MasterSlaveMode = TIM_MASTERSLAVEMODE_DISABLE;
  if (HAL_TIMEx_MasterConfigSynchronization(&htim6, &sMasterConfig) != HAL_OK)
  {
    Error_Handler();
  }
}

static void MX_TIM8_Init(void)
{

  TIM_ClockConfigTypeDef sClockSourceConfig = {0};
  TIM_MasterConfigTypeDef sMasterConfig = {0};
  TIM_OC_InitTypeDef sConfigOC = {0};
  TIM_BreakDeadTimeConfigTypeDef sBreakDeadTimeConfig = {0};

  htim8.Instance = TIM8;
  htim8.Init.Prescaler = 17 - 1;
  htim8.Init.CounterMode = TIM_COUNTERMODE_CENTERALIGNED1;
  htim8.Init.Period = 99;
  htim8.Init.ClockDivision = TIM_CLOCKDIVISION_DIV1;
  htim8.Init.RepetitionCounter = 0;
  htim8.Init.AutoReloadPreload = TIM_AUTORELOAD_PRELOAD_ENABLE;
  if (HAL_TIM_Base_Init(&htim8) != HAL_OK)
  {
    Error_Handler();
  }
  sClockSourceConfig.ClockSource = TIM_CLOCKSOURCE_INTERNAL;
  if (HAL_TIM_ConfigClockSource(&htim8, &sClockSourceConfig) != HAL_OK)
  {
    Error_Handler();
  }
  if (HAL_TIM_PWM_Init(&htim8) != HAL_OK)
  {
    Error_Handler();
  }
  if (HAL_TIM_OC_Init(&htim8) != HAL_OK)
  {
    Error_Handler();
  }
  sMasterConfig.MasterOutputTrigger = TIM_TRGO_OC3REF;
  sMasterConfig.MasterOutputTrigger2 = TIM_TRGO2_OC4REF;
  sMasterConfig.MasterSlaveMode = TIM_MASTERSLAVEMODE_DISABLE;
  if (HAL_TIMEx_MasterConfigSynchronization(&htim8, &sMasterConfig) != HAL_OK)
  {
    Error_Handler();
  }
  sConfigOC.OCMode = TIM_OCMODE_PWM1;
  sConfigOC.Pulse = 50;
  sConfigOC.OCPolarity = TIM_OCPOLARITY_HIGH;
  sConfigOC.OCNPolarity = TIM_OCNPOLARITY_HIGH;
  sConfigOC.OCFastMode = TIM_OCFAST_DISABLE;
  sConfigOC.OCIdleState = TIM_OCIDLESTATE_RESET;
  sConfigOC.OCNIdleState = TIM_OCNIDLESTATE_RESET;
  if (HAL_TIM_PWM_ConfigChannel(&htim8, &sConfigOC, TIM_CHANNEL_1) != HAL_OK)
  {
    Error_Handler();
  }
  if (HAL_TIM_PWM_ConfigChannel(&htim8, &sConfigOC, TIM_CHANNEL_2) != HAL_OK)
  {
    Error_Handler();
  }
  sConfigOC.OCMode = TIM_OCMODE_PULSE_ON_COMPARE;
  sConfigOC.Pulse = 0;
  if (HAL_TIM_OC_ConfigChannel(&htim8, &sConfigOC, TIM_CHANNEL_3) != HAL_OK)
  {
    Error_Handler();
  }
  HAL_TIMEx_OC_ConfigPulseOnCompare(&htim8, 0, 10);
  sConfigOC.Pulse = 99;
  if (HAL_TIM_OC_ConfigChannel(&htim8, &sConfigOC, TIM_CHANNEL_4) != HAL_OK)
  {
    Error_Handler();
  }
  sBreakDeadTimeConfig.OffStateRunMode = TIM_OSSR_DISABLE;
  sBreakDeadTimeConfig.OffStateIDLEMode = TIM_OSSI_DISABLE;
  sBreakDeadTimeConfig.LockLevel = TIM_LOCKLEVEL_OFF;
  sBreakDeadTimeConfig.DeadTime = 10;
  sBreakDeadTimeConfig.BreakState = TIM_BREAK_DISABLE;
  sBreakDeadTimeConfig.BreakPolarity = TIM_BREAKPOLARITY_HIGH;
  sBreakDeadTimeConfig.BreakFilter = 0;
  sBreakDeadTimeConfig.BreakAFMode = TIM_BREAK_AFMODE_INPUT;
  sBreakDeadTimeConfig.Break2State = TIM_BREAK2_DISABLE;
  sBreakDeadTimeConfig.Break2Polarity = TIM_BREAK2POLARITY_HIGH;
  sBreakDeadTimeConfig.Break2Filter = 0;
  sBreakDeadTimeConfig.Break2AFMode = TIM_BREAK_AFMODE_INPUT;
  sBreakDeadTimeConfig.AutomaticOutput = TIM_AUTOMATICOUTPUT_DISABLE;
  if (HAL_TIMEx_ConfigBreakDeadTime(&htim8, &sBreakDeadTimeConfig) != HAL_OK)
  {
    Error_Handler();
  }
  HAL_TIM_MspPostInit(&htim8);
}

static void MX_UCPD1_Init(void)
{

  LL_GPIO_InitTypeDef GPIO_InitStruct = {0};

  /* Peripheral clock enable */
  LL_APB1_GRP2_EnableClock(LL_APB1_GRP2_PERIPH_UCPD1);

  LL_AHB2_GRP1_EnableClock(LL_AHB2_GRP1_PERIPH_GPIOB);
  /**UCPD1 GPIO Configuration
  PB4   ------> UCPD1_CC2
  PB6   ------> UCPD1_CC1
  */
  GPIO_InitStruct.Pin = LL_GPIO_PIN_4;
  GPIO_InitStruct.Mode = LL_GPIO_MODE_ANALOG;
  GPIO_InitStruct.Pull = LL_GPIO_PULL_NO;
  LL_GPIO_Init(GPIOB, &GPIO_InitStruct);

  GPIO_InitStruct.Pin = LL_GPIO_PIN_6;
  GPIO_InitStruct.Mode = LL_GPIO_MODE_ANALOG;
  GPIO_InitStruct.Pull = LL_GPIO_PULL_NO;
  LL_GPIO_Init(GPIOB, &GPIO_InitStruct);

  /* UCPD1 DMA Init */

  /* UCPD1_RX Init */
  LL_DMA_SetPeriphRequest(DMA1, LL_DMA_CHANNEL_3, LL_DMAMUX_REQ_UCPD1_RX);

  LL_DMA_SetDataTransferDirection(DMA1, LL_DMA_CHANNEL_3, LL_DMA_DIRECTION_PERIPH_TO_MEMORY);

  LL_DMA_SetChannelPriorityLevel(DMA1, LL_DMA_CHANNEL_3, LL_DMA_PRIORITY_LOW);

  LL_DMA_SetMode(DMA1, LL_DMA_CHANNEL_3, LL_DMA_MODE_NORMAL);

  LL_DMA_SetPeriphIncMode(DMA1, LL_DMA_CHANNEL_3, LL_DMA_PERIPH_NOINCREMENT);

  LL_DMA_SetMemoryIncMode(DMA1, LL_DMA_CHANNEL_3, LL_DMA_MEMORY_INCREMENT);

  LL_DMA_SetPeriphSize(DMA1, LL_DMA_CHANNEL_3, LL_DMA_PDATAALIGN_BYTE);

  LL_DMA_SetMemorySize(DMA1, LL_DMA_CHANNEL_3, LL_DMA_MDATAALIGN_BYTE);

  /* UCPD1_TX Init */
  LL_DMA_SetPeriphRequest(DMA1, LL_DMA_CHANNEL_2, LL_DMAMUX_REQ_UCPD1_TX);

  LL_DMA_SetDataTransferDirection(DMA1, LL_DMA_CHANNEL_2, LL_DMA_DIRECTION_MEMORY_TO_PERIPH);

  LL_DMA_SetChannelPriorityLevel(DMA1, LL_DMA_CHANNEL_2, LL_DMA_PRIORITY_LOW);

  LL_DMA_SetMode(DMA1, LL_DMA_CHANNEL_2, LL_DMA_MODE_NORMAL);

  LL_DMA_SetPeriphIncMode(DMA1, LL_DMA_CHANNEL_2, LL_DMA_PERIPH_NOINCREMENT);

  LL_DMA_SetMemoryIncMode(DMA1, LL_DMA_CHANNEL_2, LL_DMA_MEMORY_INCREMENT);

  LL_DMA_SetPeriphSize(DMA1, LL_DMA_CHANNEL_2, LL_DMA_PDATAALIGN_BYTE);

  LL_DMA_SetMemorySize(DMA1, LL_DMA_CHANNEL_2, LL_DMA_MDATAALIGN_BYTE);

  /* UCPD1 interrupt Init */
  NVIC_SetPriority(UCPD1_IRQn, NVIC_EncodePriority(NVIC_GetPriorityGrouping(), 3, 0));
  NVIC_EnableIRQ(UCPD1_IRQn);

}

static void MX_USART2_UART_Init(void)
{

  huart2.Instance = USART2;
  huart2.Init.BaudRate = 10625000;
  huart2.Init.WordLength = UART_WORDLENGTH_8B;
  huart2.Init.StopBits = UART_STOPBITS_1;
  huart2.Init.Parity = UART_PARITY_NONE;
  huart2.Init.Mode = UART_MODE_TX_RX;
  huart2.Init.HwFlowCtl = UART_HWCONTROL_NONE;
  huart2.Init.OverSampling = UART_OVERSAMPLING_16;
  huart2.Init.OneBitSampling = UART_ONE_BIT_SAMPLE_DISABLE;
  huart2.Init.ClockPrescaler = UART_PRESCALER_DIV1;
  huart2.AdvancedInit.AdvFeatureInit = UART_ADVFEATURE_NO_INIT;
  if (HAL_UART_Init(&huart2) != HAL_OK)
  {
    Error_Handler();
  }
  if (HAL_UARTEx_SetTxFifoThreshold(&huart2, UART_TXFIFO_THRESHOLD_1_8) != HAL_OK)
  {
    Error_Handler();
  }
  if (HAL_UARTEx_SetRxFifoThreshold(&huart2, UART_RXFIFO_THRESHOLD_1_8) != HAL_OK)
  {
    Error_Handler();
  }
  if (HAL_UARTEx_DisableFifoMode(&huart2) != HAL_OK)
  {
    Error_Handler();
  }
}

static void MX_USB_PCD_Init(void)
{

  hpcd_USB_FS.Instance = USB;
  hpcd_USB_FS.Init.dev_endpoints = 8;
  hpcd_USB_FS.Init.speed = PCD_SPEED_FULL;
  hpcd_USB_FS.Init.phy_itface = PCD_PHY_EMBEDDED;
  hpcd_USB_FS.Init.Sof_enable = DISABLE;
  hpcd_USB_FS.Init.low_power_enable = DISABLE;
  hpcd_USB_FS.Init.lpm_enable = DISABLE;
  hpcd_USB_FS.Init.battery_charging_enable = DISABLE;
  if (HAL_PCD_Init(&hpcd_USB_FS) != HAL_OK)
  {
    Error_Handler();
  }
}

static void MX_DMA_Init(void)
{

  /* DMA controller clock enable */
  __HAL_RCC_DMAMUX1_CLK_ENABLE();
  __HAL_RCC_DMA1_CLK_ENABLE();
  __HAL_RCC_DMA2_CLK_ENABLE();

  /* DMA interrupt init */
  /* DMA1_Channel1_IRQn interrupt configuration */
  HAL_NVIC_SetPriority(DMA1_Channel1_IRQn, 3, 0);
  HAL_NVIC_EnableIRQ(DMA1_Channel1_IRQn);
  /* DMA1_Channel2_IRQn interrupt configuration */
  NVIC_SetPriority(DMA1_Channel2_IRQn, NVIC_EncodePriority(NVIC_GetPriorityGrouping(), 3, 0));
  NVIC_EnableIRQ(DMA1_Channel2_IRQn);
  /* DMA1_Channel3_IRQn interrupt configuration */
  NVIC_SetPriority(DMA1_Channel3_IRQn, NVIC_EncodePriority(NVIC_GetPriorityGrouping(), 3, 0));
  NVIC_EnableIRQ(DMA1_Channel3_IRQn);
  /* DMA2_Channel1_IRQn interrupt configuration */
  HAL_NVIC_SetPriority(DMA2_Channel1_IRQn, 0, 0);
  HAL_NVIC_EnableIRQ(DMA2_Channel1_IRQn);
  /* DMA2_Channel2_IRQn interrupt configuration */
  HAL_NVIC_SetPriority(DMA2_Channel2_IRQn, 0, 0);
  HAL_NVIC_EnableIRQ(DMA2_Channel2_IRQn);
}

static void MX_GPIO_Init(void)
{
  GPIO_InitTypeDef GPIO_InitStruct = {0};

  /* GPIO Ports Clock Enable */
  __HAL_RCC_GPIOF_CLK_ENABLE();
  __HAL_RCC_GPIOC_CLK_ENABLE();
  __HAL_RCC_GPIOA_CLK_ENABLE();
  __HAL_RCC_GPIOB_CLK_ENABLE();
  __HAL_RCC_GPIOD_CLK_ENABLE();

  /*Configure GPIO pin Output Level */
  HAL_GPIO_WritePin(GPIOC, ENA_Pin | ENB_Pin, GPIO_PIN_RESET);

  /*Configure GPIO pin Output Level */
  HAL_GPIO_WritePin(SPI3_CS_GPIO_Port, SPI3_CS_Pin, GPIO_PIN_RESET);

  /*Configure GPIO pin Output Level */
  HAL_GPIO_WritePin(GPIOB, STBY_Pin | PROFILE1_Pin | PROFILE2_Pin, GPIO_PIN_RESET);

  /*Configure GPIO pin : PC1 */
  GPIO_InitStruct.Pin = GPIO_PIN_1;
  GPIO_InitStruct.Mode = GPIO_MODE_ANALOG;
  GPIO_InitStruct.Pull = GPIO_NOPULL;
  HAL_GPIO_Init(GPIOC, &GPIO_InitStruct);

  /*Configure GPIO pins : ENA_Pin ENB_Pin */
  GPIO_InitStruct.Pin = ENA_Pin | ENB_Pin;
  GPIO_InitStruct.Mode = GPIO_MODE_OUTPUT_PP;
  GPIO_InitStruct.Pull = GPIO_NOPULL;
  GPIO_InitStruct.Speed = GPIO_SPEED_FREQ_LOW;
  HAL_GPIO_Init(GPIOC, &GPIO_InitStruct);

  /*Configure GPIO pin : SPI3_CS_Pin */
  GPIO_InitStruct.Pin = SPI3_CS_Pin;
  GPIO_InitStruct.Mode = GPIO_MODE_OUTPUT_PP;
  GPIO_InitStruct.Pull = GPIO_NOPULL;
  GPIO_InitStruct.Speed = GPIO_SPEED_FREQ_LOW;
  HAL_GPIO_Init(SPI3_CS_GPIO_Port, &GPIO_InitStruct);

  /*Configure GPIO pins : STBY_Pin PROFILE1_Pin */
  GPIO_InitStruct.Pin = STBY_Pin | PROFILE1_Pin;
  GPIO_InitStruct.Mode = GPIO_MODE_OUTPUT_PP;
  GPIO_InitStruct.Pull = GPIO_NOPULL;
  GPIO_InitStruct.Speed = GPIO_SPEED_FREQ_LOW;
  HAL_GPIO_Init(GPIOB, &GPIO_InitStruct);

  /*Configure GPIO pin : PROFILE2_Pin */
  GPIO_InitStruct.Pin = PROFILE2_Pin;
  GPIO_InitStruct.Mode = GPIO_MODE_OUTPUT_PP;
  GPIO_InitStruct.Pull = GPIO_PULLDOWN;
  GPIO_InitStruct.Speed = GPIO_SPEED_FREQ_LOW;
  HAL_GPIO_Init(PROFILE2_GPIO_Port, &GPIO_InitStruct);

}

void doHardwareInitTask(void *argument)
{
  /* USER CODE BEGIN 5 */

  doHardwareInit();
  vTaskDelete(NULL);

  /* Infinite loop */

  /* USER CODE END 5 */
}

void startDoSamplingTask(void *argument)
{
  /* USER CODE BEGIN startDoSamplingTask */
  osDelay(100);
  doSamplingTask();
  /* Infinite loop */
  for (;;)
  {
    osDelay(1);
  }
  /* USER CODE END startDoSamplingTask */
}

void HAL_TIM_PeriodElapsedCallback(TIM_HandleTypeDef *htim)
{
  if (htim->Instance == TIM7)
  {
    HAL_IncTick();
  }
}

void Error_Handler(void)
{
  __disable_irq();
  while (1)
  {
  }
}

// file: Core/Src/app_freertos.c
/* USER CODE BEGIN Header */
/**
  ******************************************************************************
  * File Name          : app_freertos.c
  * Description        : Code for freertos applications
  ******************************************************************************
  * @attention
  *
  * Copyright (c) 2026 STMicroelectronics.
  * All rights reserved.
  *
  * This software is licensed under terms that can be found in the LICENSE file
  * in the root directory of this software component.
  * If no LICENSE file comes with this software, it is provided AS-IS.
  *
  ******************************************************************************
  */
/* USER CODE END Header */

#include "FreeRTOS.h"
#include "task.h"
#include "main.h"

/* Hook prototypes */
void configureTimerForRunTimeStats(void);
unsigned long getRunTimeCounterValue(void);

/* USER CODE BEGIN 1 */
/* Functions needed when configGENERATE_RUN_TIME_STATS is on */
__weak void configureTimerForRunTimeStats(void)
{

}

__weak unsigned long getRunTimeCounterValue(void)
{
return 0;
}
/* USER CODE END 1 */
